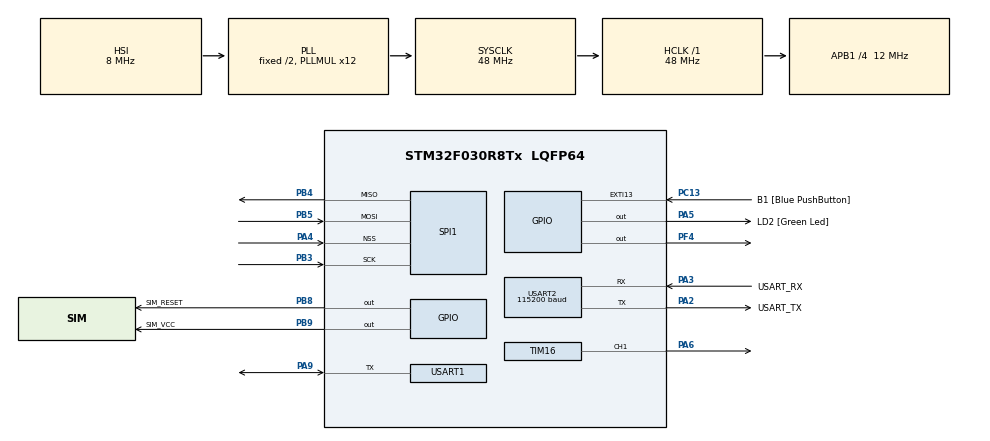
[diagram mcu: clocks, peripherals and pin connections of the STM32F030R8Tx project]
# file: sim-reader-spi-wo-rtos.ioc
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Mcu.Family=STM32F0
Mcu.Name=STM32F030R8Tx
Mcu.Package=LQFP64
NVIC.SPI1_IRQn=true\:0\:0\:false
NVIC.TIM1_BRK_UP_TRG_COM_IRQn=true\:0\:0\:false
NVIC.TimeBase=TIM1_BRK_UP_TRG_COM_IRQn
NVIC.TimeBaseIP=TIM1
NVIC.USART1_IRQn=true\:0\:0\:false
NVIC.USART2_IRQn=true\:0\:0\:false
PA13.GPIO_Label=TMS
PA13.Mode=Serial-WireDebug
PA13.Signal=SYS_SWDIO
PA14.GPIO_Label=TCK
PA14.Mode=Serial-WireDebug
PA14.Signal=SYS_SWCLK
PA2.GPIO_Label=USART_TX
PA2.GPIO_Mode=GPIO_MODE_AF_PP
PA2.GPIO_PuPd=GPIO_NOPULL
PA2.GPIO_Speed=GPIO_SPEED_LOW
PA2.Mode=Asynchronous
PA2.Signal=USART2_TX
PA3.GPIO_Label=USART_RX
PA3.GPIO_Mode=GPIO_MODE_AF_PP
PA3.GPIO_PuPd=GPIO_NOPULL
PA3.GPIO_Speed=GPIO_SPEED_LOW
PA3.Mode=Asynchronous
PA3.Signal=USART2_RX
PA4.Mode=NSS_Signal_Hard_Input
PA4.Signal=SPI1_NSS
PA5.GPIO_Label=LD2 [Green Led]
PA5.GPIO_Mode=GPIO_MODE_OUTPUT_PP
PA5.GPIO_PuPd=GPIO_NOPULL
PA5.GPIO_Speed=GPIO_SPEED_LOW
PA5.Signal=GPIO_Output
PA6.GPIO_Speed=GPIO_SPEED_HIGH
PA6.Signal=S_TIM16_CH1
PA9.GPIO_Mode=GPIO_MODE_AF_PP
PA9.Mode=Half_duplex(single_wire_mode)
PA9.Signal=USART1_TX
PB12.Signal=SPI2_NSS
PB3.Mode=Full_Duplex_Slave
PB3.Signal=SPI1_SCK
PB4.Mode=Full_Duplex_Slave
PB4.Signal=SPI1_MISO
PB5.Mode=Full_Duplex_Slave
PB5.Signal=SPI1_MOSI
PB8.GPIO_Label=SIM_RESET
PB8.GPIO_PuPd=GPIO_PULLDOWN
PB8.Signal=GPIO_Output
PB9.GPIO_Label=SIM_VCC
PB9.GPIO_PuPd=GPIO_PULLDOWN
PB9.Signal=GPIO_Output
PC13.GPIO_Label=B1 [Blue PushButton]
PC13.GPIO_ModeDefaultEXTI=GPIO_MODE_EVT_RISING
PC13.Signal=GPXTI13
PC14-OSC32_IN.Signal=RCC_OSC32_IN
PC15-OSC32_OUT.Signal=RCC_OSC32_OUT
PF0-OSC_IN.Signal=RCC_OSC_IN
PF1-OSC_OUT.Signal=RCC_OSC_OUT
PF4.Signal=GPIO_Output
ProjectManager.HeapSize=0x800
ProjectManager.StackSize=0x400
ProjectManager.TargetToolchain=MDK-ARM V5
RCC.AHBFreq_Value=48000000
RCC.APB1CLKDivider=RCC_HCLK_DIV4
RCC.APB1Freq_Value=12000000
RCC.APB1TimFreq_Value=24000000
RCC.HCLKFreq_Value=48000000
RCC.PLLMUL=RCC_PLL_MUL12
RCC.SYSCLKFreq_VALUE=48000000
RCC.SYSCLKSource=RCC_SYSCLKSOURCE_PLLCLK
SH.S_TIM16_CH1.0=TIM16_CH1,PWM Generation1 CH1
SPI1.CLKPhase=SPI_PHASE_1EDGE
SPI1.CLKPolarity=SPI_POLARITY_HIGH
SPI1.DataSize=SPI_DATASIZE_8BIT
SPI1.VirtualNSS=VM_NSSHARD
SPI1.VirtualType=VM_SLAVE
TIM16.Period=6
TIM16.Prescaler=0
USART1.BaudRate=9217
USART1.Parity=UART_PARITY_EVEN
USART1.StopBits=UART_STOPBITS_2
USART1.WordLength=UART_WORDLENGTH_9B
USART2.BaudRate=115200
VP_SYS_VS_tim1.Mode=TIM1
VP_TIM16_VS_ClockSourceINT.Mode=Enable_Timer
board=NUCLEO-F030R8

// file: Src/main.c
/**
  ******************************************************************************
  * File Name          : main.c
  * Description        : Main program body
  ******************************************************************************
  *
  * COPYRIGHT(c) 2016 STMicroelectronics
  *
  * Redistribution and use in source and binary forms, with or without modification,
  * are permitted provided that the following conditions are met:
  *   1. Redistributions of source code must retain the above copyright notice,
  *      this list of conditions and the following disclaimer.
  *   2. Redistributions in binary form must reproduce the above copyright notice,
  *      this list of conditions and the following disclaimer in the documentation
  *      and/or other materials provided with the distribution.
  *   3. Neither the name of STMicroelectronics nor the names of its contributors
  *      may be used to endorse or promote products derived from this software
  *      without specific prior written permission.
  *
  * THIS SOFTWARE IS PROVIDED BY THE COPYRIGHT HOLDERS AND CONTRIBUTORS "AS IS"
  * AND ANY EXPRESS OR IMPLIED WARRANTIES, INCLUDING, BUT NOT LIMITED TO, THE
  * IMPLIED WARRANTIES OF MERCHANTABILITY AND FITNESS FOR A PARTICULAR PURPOSE ARE
  * DISCLAIMED. IN NO EVENT SHALL THE COPYRIGHT HOLDER OR CONTRIBUTORS BE LIABLE
  * FOR ANY DIRECT, INDIRECT, INCIDENTAL, SPECIAL, EXEMPLARY, OR CONSEQUENTIAL
  * DAMAGES (INCLUDING, BUT NOT LIMITED TO, PROCUREMENT OF SUBSTITUTE GOODS OR
  * SERVICES; LOSS OF USE, DATA, OR PROFITS; OR BUSINESS INTERRUPTION) HOWEVER
  * CAUSED AND ON ANY THEORY OF LIABILITY, WHETHER IN CONTRACT, STRICT LIABILITY,
  * OR TORT (INCLUDING NEGLIGENCE OR OTHERWISE) ARISING IN ANY WAY OUT OF THE USE
  * OF THIS SOFTWARE, EVEN IF ADVISED OF THE POSSIBILITY OF SUCH DAMAGE.
  *
  ******************************************************************************
  */
#include "stm32f0xx_hal.h"

SPI_HandleTypeDef hspi1;

TIM_HandleTypeDef htim16;

UART_HandleTypeDef huart1;
UART_HandleTypeDef huart2;

/* USER CODE BEGIN PV */
/* Private variables ---------------------------------------------------------*/
void Error_Handler(void);
static void Slave_Synchro(void);
#define SPI_SLAVE_SYNBYTE         0x53
#define SPI_MASTER_SYNBYTE        0xAC

/* USER CODE END PV */

void SystemClock_Config(void);
static void MX_GPIO_Init(void);
static void MX_TIM16_Init(void);
static void MX_USART1_UART_Init(void);
static void MX_USART2_UART_Init(void);
static void MX_SPI1_Init(void);

void HAL_TIM_MspPostInit(TIM_HandleTypeDef *htim);

/* USER CODE BEGIN PFP */
/* Private function prototypes -----------------------------------------------*/

/* USER CODE END PFP */

int main(void)
{

  /* MCU Configuration----------------------------------------------------------*/

  /* Reset of all peripherals, Initializes the Flash interface and the Systick. */
  HAL_Init();

  /* Configure the system clock */
  SystemClock_Config();

  /* Initialize all configured peripherals */
  MX_GPIO_Init();
  MX_TIM16_Init();
  MX_USART1_UART_Init();
  MX_USART2_UART_Init();
  MX_SPI1_Init();

  /* Infinite loop */
  while (1)
  {

  /* USER CODE BEGIN 3 */
		Slave_Synchro();

  }
  /* USER CODE END 3 */

}

/** System Clock Configuration
*/
void SystemClock_Config(void)
{

  RCC_OscInitTypeDef RCC_OscInitStruct;
  RCC_ClkInitTypeDef RCC_ClkInitStruct;
  RCC_PeriphCLKInitTypeDef PeriphClkInit;

  RCC_OscInitStruct.OscillatorType = RCC_OSCILLATORTYPE_HSI;
  RCC_OscInitStruct.HSIState = RCC_HSI_ON;
  RCC_OscInitStruct.HSICalibrationValue = 16;
  RCC_OscInitStruct.PLL.PLLState = RCC_PLL_ON;
  RCC_OscInitStruct.PLL.PLLSource = RCC_PLLSOURCE_HSI;
  RCC_OscInitStruct.PLL.PLLMUL = RCC_PLL_MUL12;
  RCC_OscInitStruct.PLL.PREDIV = RCC_PREDIV_DIV1;
  HAL_RCC_OscConfig(&RCC_OscInitStruct);

  RCC_ClkInitStruct.ClockType = RCC_CLOCKTYPE_HCLK|RCC_CLOCKTYPE_SYSCLK
                              |RCC_CLOCKTYPE_PCLK1;
  RCC_ClkInitStruct.SYSCLKSource = RCC_SYSCLKSOURCE_PLLCLK;
  RCC_ClkInitStruct.AHBCLKDivider = RCC_SYSCLK_DIV1;
  RCC_ClkInitStruct.APB1CLKDivider = RCC_HCLK_DIV4;
  HAL_RCC_ClockConfig(&RCC_ClkInitStruct, FLASH_LATENCY_1);

  PeriphClkInit.PeriphClockSelection = RCC_PERIPHCLK_USART1;
  PeriphClkInit.Usart1ClockSelection = RCC_USART1CLKSOURCE_PCLK1;
  HAL_RCCEx_PeriphCLKConfig(&PeriphClkInit);

  HAL_SYSTICK_Config(HAL_RCC_GetHCLKFreq()/1000);

  HAL_SYSTICK_CLKSourceConfig(SYSTICK_CLKSOURCE_HCLK);

  /* SysTick_IRQn interrupt configuration */
  HAL_NVIC_SetPriority(SysTick_IRQn, 0, 0);
}

/* SPI1 init function */
void MX_SPI1_Init(void)
{

  hspi1.Instance = SPI1;
  hspi1.Init.Mode = SPI_MODE_SLAVE;
  hspi1.Init.Direction = SPI_DIRECTION_2LINES;
  hspi1.Init.DataSize = SPI_DATASIZE_8BIT;
  hspi1.Init.CLKPolarity = SPI_POLARITY_HIGH;
  hspi1.Init.CLKPhase = SPI_PHASE_1EDGE;
  hspi1.Init.NSS = SPI_NSS_HARD_INPUT;
  hspi1.Init.FirstBit = SPI_FIRSTBIT_MSB;
  hspi1.Init.TIMode = SPI_TIMODE_DISABLED;
  hspi1.Init.CRCCalculation = SPI_CRCCALCULATION_DISABLED;
  hspi1.Init.CRCPolynomial = 7;
  hspi1.Init.CRCLength = SPI_CRC_LENGTH_DATASIZE;
  hspi1.Init.NSSPMode = SPI_NSS_PULSE_DISABLED;
  HAL_SPI_Init(&hspi1);

}

/* TIM16 init function */
void MX_TIM16_Init(void)
{

  TIM_BreakDeadTimeConfigTypeDef sBreakDeadTimeConfig;
  TIM_OC_InitTypeDef sConfigOC;

  htim16.Instance = TIM16;
  htim16.Init.Prescaler = 0;
  htim16.Init.CounterMode = TIM_COUNTERMODE_UP;
  htim16.Init.Period = 6;
  htim16.Init.ClockDivision = TIM_CLOCKDIVISION_DIV1;
  htim16.Init.RepetitionCounter = 0;
  HAL_TIM_Base_Init(&htim16);

  HAL_TIM_PWM_Init(&htim16);

  sBreakDeadTimeConfig.OffStateRunMode = TIM_OSSR_DISABLE;
  sBreakDeadTimeConfig.OffStateIDLEMode = TIM_OSSI_DISABLE;
  sBreakDeadTimeConfig.LockLevel = TIM_LOCKLEVEL_OFF;
  sBreakDeadTimeConfig.DeadTime = 0;
  sBreakDeadTimeConfig.BreakState = TIM_BREAK_DISABLE;
  sBreakDeadTimeConfig.BreakPolarity = TIM_BREAKPOLARITY_HIGH;
  sBreakDeadTimeConfig.AutomaticOutput = TIM_AUTOMATICOUTPUT_DISABLE;
  HAL_TIMEx_ConfigBreakDeadTime(&htim16, &sBreakDeadTimeConfig);

  sConfigOC.OCMode = TIM_OCMODE_PWM1;
  sConfigOC.Pulse = 0;
  sConfigOC.OCPolarity = TIM_OCPOLARITY_HIGH;
  sConfigOC.OCNPolarity = TIM_OCNPOLARITY_HIGH;
  sConfigOC.OCFastMode = TIM_OCFAST_DISABLE;
  sConfigOC.OCIdleState = TIM_OCIDLESTATE_RESET;
  sConfigOC.OCNIdleState = TIM_OCNIDLESTATE_RESET;
  HAL_TIM_PWM_ConfigChannel(&htim16, &sConfigOC, TIM_CHANNEL_1);

  HAL_TIM_MspPostInit(&htim16);

}

/* USART1 init function */
void MX_USART1_UART_Init(void)
{

  huart1.Instance = USART1;
  huart1.Init.BaudRate = 9217;
  huart1.Init.WordLength = UART_WORDLENGTH_9B;
  huart1.Init.StopBits = UART_STOPBITS_2;
  huart1.Init.Parity = UART_PARITY_EVEN;
  huart1.Init.Mode = UART_MODE_TX_RX;
  huart1.Init.HwFlowCtl = UART_HWCONTROL_NONE;
  huart1.Init.OverSampling = UART_OVERSAMPLING_16;
  huart1.Init.OneBitSampling = UART_ONEBIT_SAMPLING_DISABLED ;
  huart1.AdvancedInit.AdvFeatureInit = UART_ADVFEATURE_NO_INIT;
  HAL_HalfDuplex_Init(&huart1);

}

/* USART2 init function */
void MX_USART2_UART_Init(void)
{

  huart2.Instance = USART2;
  huart2.Init.BaudRate = 115200;
  huart2.Init.WordLength = UART_WORDLENGTH_8B;
  huart2.Init.StopBits = UART_STOPBITS_1;
  huart2.Init.Parity = UART_PARITY_NONE;
  huart2.Init.Mode = UART_MODE_TX_RX;
  huart2.Init.HwFlowCtl = UART_HWCONTROL_NONE;
  huart2.Init.OverSampling = UART_OVERSAMPLING_16;
  huart2.Init.OneBitSampling = UART_ONEBIT_SAMPLING_DISABLED ;
  huart2.AdvancedInit.AdvFeatureInit = UART_ADVFEATURE_NO_INIT;
  HAL_UART_Init(&huart2);

}

/** Configure pins as
        * Analog
        * Input
        * Output
        * EVENT_OUT
        * EXTI
     PB12   ------> SPI2_NSS
*/
void MX_GPIO_Init(void)
{

  GPIO_InitTypeDef GPIO_InitStruct;

  /* GPIO Ports Clock Enable */
  __GPIOC_CLK_ENABLE();
  __GPIOF_CLK_ENABLE();
  __GPIOA_CLK_ENABLE();
  __GPIOB_CLK_ENABLE();

  /*Configure GPIO pin : B1_Pin */
  GPIO_InitStruct.Pin = B1_Pin;
  GPIO_InitStruct.Mode = GPIO_MODE_EVT_RISING;
  GPIO_InitStruct.Pull = GPIO_NOPULL;
  HAL_GPIO_Init(B1_GPIO_Port, &GPIO_InitStruct);

  /*Configure GPIO pin : PF4 */
  GPIO_InitStruct.Pin = GPIO_PIN_4;
  GPIO_InitStruct.Mode = GPIO_MODE_OUTPUT_PP;
  GPIO_InitStruct.Pull = GPIO_NOPULL;
  GPIO_InitStruct.Speed = GPIO_SPEED_LOW;
  HAL_GPIO_Init(GPIOF, &GPIO_InitStruct);

  /*Configure GPIO pin : LD2_Pin */
  GPIO_InitStruct.Pin = LD2_Pin;
  GPIO_InitStruct.Mode = GPIO_MODE_OUTPUT_PP;
  GPIO_InitStruct.Pull = GPIO_NOPULL;
  GPIO_InitStruct.Speed = GPIO_SPEED_LOW;
  HAL_GPIO_Init(LD2_GPIO_Port, &GPIO_InitStruct);

  /*Configure GPIO pin : PB12 */
  GPIO_InitStruct.Pin = GPIO_PIN_12;
  GPIO_InitStruct.Mode = GPIO_MODE_AF_PP;
  GPIO_InitStruct.Pull = GPIO_NOPULL;
  GPIO_InitStruct.Speed = GPIO_SPEED_HIGH;
  GPIO_InitStruct.Alternate = GPIO_AF0_SPI2;
  HAL_GPIO_Init(GPIOB, &GPIO_InitStruct);

  /*Configure GPIO pins : SIM_RESET_Pin SIM_VCC_Pin */
  GPIO_InitStruct.Pin = SIM_RESET_Pin|SIM_VCC_Pin;
  GPIO_InitStruct.Mode = GPIO_MODE_OUTPUT_PP;
  GPIO_InitStruct.Pull = GPIO_PULLDOWN;
  GPIO_InitStruct.Speed = GPIO_SPEED_LOW;
  HAL_GPIO_Init(GPIOB, &GPIO_InitStruct);

  /*Configure GPIO pin Output Level */
  HAL_GPIO_WritePin(GPIOF, GPIO_PIN_4, GPIO_PIN_RESET);

  /*Configure GPIO pin Output Level */
  HAL_GPIO_WritePin(LD2_GPIO_Port, LD2_Pin, GPIO_PIN_RESET);

  /*Configure GPIO pin Output Level */
  HAL_GPIO_WritePin(GPIOB, SIM_RESET_Pin|SIM_VCC_Pin, GPIO_PIN_RESET);

}

/* USER CODE BEGIN 4 */

/**
  * @brief  This function is executed in case of error occurrence.
  * @param  None
  * @retval None
  */
void Error_Handler(void)
{
  HAL_GPIO_WritePin(GPIOD,GPIO_PIN_14,GPIO_PIN_SET);
  while(1)
  {
  }
}

/**
  * @brief  Slave synchronization with Master
  * @param  None
  * @retval None
  */
/*
static void Slave_Synchro(void)
{
  uint8_t txackbyte = SPI_SLAVE_SYNBYTE, rxackbyte = 0x00;

  do
  {
    if (HAL_SPI_TransmitReceive(&hspi1, (uint8_t *)&txackbyte, (uint8_t *)&rxackbyte, 1, HAL_MAX_DELAY) != HAL_OK)
    {
      Error_Handler();
    }
  }
  while (rxackbyte != SPI_MASTER_SYNBYTE);
}
*/

static void Slave_Synchro(void)
{
  uint8_t txackbyte = SPI_SLAVE_SYNBYTE, rxackbyte = 0x00;

  do
  {
    if (HAL_SPI_TransmitReceive_IT(&hspi1, (uint8_t *)&txackbyte, (uint8_t *)&rxackbyte, 1) != HAL_OK)
    {
      Error_Handler();
    }

    while (HAL_SPI_GetState(&hspi1) != HAL_SPI_STATE_READY)
    {}
  }
  while (rxackbyte != SPI_MASTER_SYNBYTE);
}

/* USER CODE END 4 */

/************************ (C) COPYRIGHT STMicroelectronics *****END OF FILE****/
